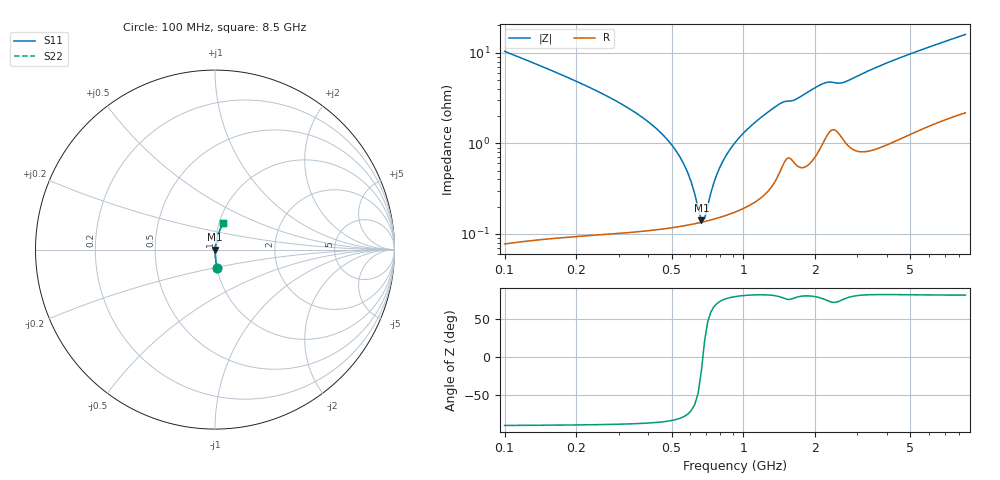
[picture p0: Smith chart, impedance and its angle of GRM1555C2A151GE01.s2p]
!Murata Part Number: GRM1555C2A151GE01
!These Parameters are Measured in Series Mode Connection
!Data Generated on Mar 30, 2021
!  o--ll--o
!Port1  Port2
!  o------o
!Operation Temp=25[degC], DC Bias Voltage=0[V]
!Freq. Start=100[MHz] Stop=9[GHz] 401[Steps]
# Hz S RI R 50
!Freq.(Hz) S11(Real) S11(Imag) S21(Real) S21(Imag) S12(Real) S12(Imag) S22(Real) S22(Imag)
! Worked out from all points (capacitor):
!   401 points, 100 MHz to 8.5 GHz, reference 50 ohm
!   read as one part in series: C = 150 pF near 142 MHz
!   lowest |Z| = 141 mohm at 667 MHz (marker M1)
!   series resonance near 676 MHz, so ESL is about 370 pH
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1e8  0.0114 -0.1023  0.9886 0.1023  0.9886 0.1023  0.0114 -0.1023
2.26e8  0.00268 -0.0414  0.9973 0.0414  0.9973 0.0414  0.00268 -0.0414
4.99e8  0.00126 -0.00965  0.9987 0.00965  0.9987 0.00965  0.00126 -0.00965
5.62e8  0.00126 -0.00582  0.9987 0.00582  0.9987 0.00582  0.00126 -0.00582
6.46e8  0.00132 -0.00142  0.9987 0.00142  0.9987 0.00142  0.00132 -0.00142
6.67e8  0.00134 -0.000416  0.9987 0.000416  0.9987 0.000416  0.00134 -0.000416
6.88e8  0.00137 0.000558  0.9986 -0.000558  0.9986 -0.000558  0.00137 0.000558
7.09e8  0.0014 0.0015  0.9986 -0.0015  0.9986 -0.0015  0.0014 0.0015
7.72e8  0.0015 0.0042  0.9985 -0.0042  0.9985 -0.0042  0.0015 0.0042
8.14e8  0.00158 0.0059  0.9984 -0.0059  0.9984 -0.0059  0.00158 0.0059
9.4e8  0.00189 0.0106  0.9981 -0.0106  0.9981 -0.0106  0.00189 0.0106
1.045e9  0.00223 0.0143  0.9978 -0.0143  0.9978 -0.0143  0.00223 0.0143
1.192e9  0.0029 0.0193  0.9971 -0.0193  0.9971 -0.0193  0.0029 0.0193
1.381e9  0.00477 0.0255  0.9952 -0.0255  0.9952 -0.0255  0.00477 0.0255
1.507e9  0.00735 0.028  0.9927 -0.028  0.9927 -0.028  0.00735 0.028
2.179e9  0.0125 0.0439  0.9875 -0.0439  0.9875 -0.0439  0.0125 0.0439
2.578e9  0.0134 0.0439  0.9866 -0.0439  0.9866 -0.0439  0.0134 0.0439
2.914e9  0.011 0.0516  0.989 -0.0516  0.989 -0.0516  0.011 0.0516
4.3e9  0.017 0.0806  0.983 -0.0806  0.983 -0.0806  0.017 0.0806
5.707e9  0.0258 0.1051  0.9742 -0.1051  0.9742 -0.1051  0.0258 0.1051
7.114e9  0.0349 0.1271  0.9651 -0.1271  0.9651 -0.1271  0.0349 0.1271
8.5e9  0.044 0.1474  0.956 -0.1474  0.956 -0.1474  0.044 0.1474
